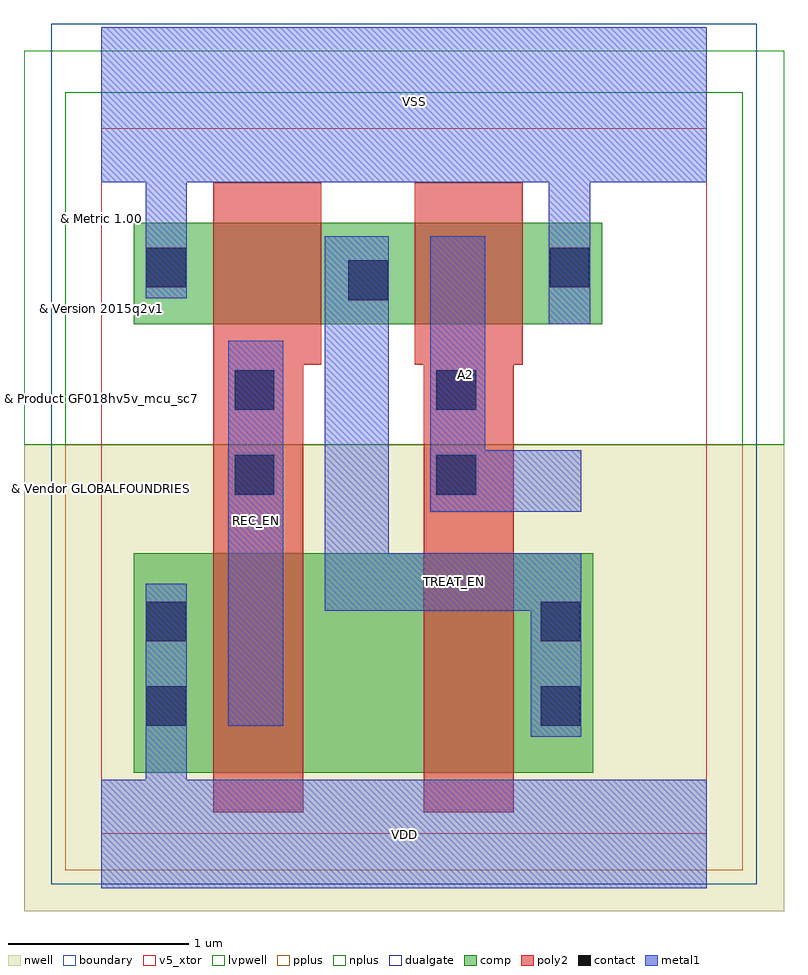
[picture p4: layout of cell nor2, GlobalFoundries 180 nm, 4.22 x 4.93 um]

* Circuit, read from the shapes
.subckt nor2 A2 REC_EN TREAT_EN VDD VSS
XM1 TREAT_EN REC_EN VSS VSUBS nfet_05v0 w=0.565u l=0.6u
XM2 VSS A2 TREAT_EN VSUBS nfet_05v0 w=0.565u l=0.6u
XM3 n1 REC_EN VDD n2 pfet_05v0 w=1.22u l=0.5u
XM4 TREAT_EN A2 n1 n2 pfet_05v0 w=1.22u l=0.5u
.ends

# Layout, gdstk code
import gdstk
lib = gdstk.Library(unit=1e-6, precision=1e-09)
def R(c, l, rs):  # rectangles x0, y0, x1, y1
    for r in rs: c.add(gdstk.rectangle(r[:2], r[2:], *l))
def P(c, l, *ps):  # polygons
    for p in ps: c.add(gdstk.Polygon(p, *l))
boundary = (0, 0)
nwell = (21, 0)
comp = (22, 0)
poly2 = (30, 0)
pplus = (31, 0)
nplus = (32, 0)
contact = (33, 0)
metal1 = (34, 0)
dualgate = (55, 0)
v5_xtor = (112, 1)
lvpwell = (204, 0)

nor2 = lib.new_cell('nor2')
R(nor2, boundary, [(6.33,-9.36,9.69,-5.44)])
R(nor2, nwell, [(5.9,-9.79,10.12,-7.2)])
R(nor2, comp, [(6.51,-9.02,9.06,-7.8), (6.51,-6.53,9.11,-5.965)])
P(nor2, poly2, [(6.95,-9.24),(6.95,-5.745),(7.55,-5.745),(7.55,-6.755),(7.45,-6.755),(7.45,-9.24)],
  [(8.12,-9.24),(8.12,-6.755),(8.07,-6.755),(8.07,-5.745),(8.67,-5.745),(8.67,-6.755),(8.62,-6.755),(8.62,-9.24)])
R(nor2, pplus, [(6.13,-9.56,9.89,-7.2)])
R(nor2, nplus, [(6.13,-7.2,9.89,-5.24)])
R(nor2, contact, [(6.58,-8.76,6.8,-8.54), (8.77,-8.76,8.99,-8.54), (6.58,-8.29,6.8,-8.07), (8.77,-8.29,8.99,-8.07), (7.07,-7.475,7.29,-7.255), (8.19,-7.475,8.41,-7.255), (7.07,-7.005,7.29,-6.785), (8.19,-7.005,8.41,-6.785), (7.7,-6.395,7.92,-6.175), (6.58,-6.325,6.8,-6.105), (8.82,-6.325,9.04,-6.105)])
R(nor2, metal1, [(7.035,-8.76,7.34,-6.62)])
P(nor2, metal1, [(8.155,-7.57),(8.155,-6.04),(8.46,-6.04),(8.46,-7.23),(8.995,-7.23),(8.995,-7.57)],
  [(8.815,-6.53),(8.815,-5.74),(6.805,-5.74),(6.805,-6.385),(6.575,-6.385),(6.575,-5.74),(6.33,-5.74),(6.33,-4.88),(9.69,-4.88),(9.69,-5.74),(9.045,-5.74),(9.045,-6.53)],
  [(6.33,-9.66),(6.33,-9.06),(6.575,-9.06),(6.575,-7.97),(6.805,-7.97),(6.805,-9.06),(9.69,-9.06),(9.69,-9.66)],
  [(8.715,-8.82),(8.715,-8.12),(7.57,-8.12),(7.57,-6.04),(7.925,-6.04),(7.925,-7.8),(8.995,-7.8),(8.995,-8.82)])
R(nor2, dualgate, [(6.05,-9.64,9.97,-4.86)])
R(nor2, v5_xtor, [(6.33,-9.36,9.69,-5.44)])
R(nor2, lvpwell, [(5.9,-7.2,10.12,-5.01)])
nor2.add(gdstk.Label('& Vendor GLOBALFOUNDRIES', (6.33,-7.44), layer=63, texttype=63))
nor2.add(gdstk.Label('& Product GF018hv5v_mcu_sc7', (6.33,-6.94), layer=63, texttype=63))
nor2.add(gdstk.Label('& Version 2015q2v1', (6.33,-6.44), layer=63, texttype=63))
nor2.add(gdstk.Label('& Metric 1.00', (6.33,-5.94), layer=63, texttype=63))
nor2.add(gdstk.Label('REC_EN', (7.19,-7.62), layer=34, texttype=10))
nor2.add(gdstk.Label('TREAT_EN', (8.29,-7.96), layer=34, texttype=10))
nor2.add(gdstk.Label('A2', (8.35,-6.81), layer=34, texttype=10))
nor2.add(gdstk.Label('VSS', (8.07,-5.295), layer=34, texttype=10))
nor2.add(gdstk.Label('VDD', (8.01,-9.365), layer=34, texttype=10))

lib.write_gds('nor2.gds')
